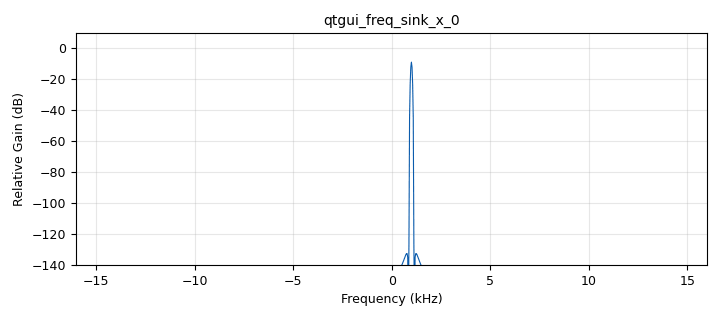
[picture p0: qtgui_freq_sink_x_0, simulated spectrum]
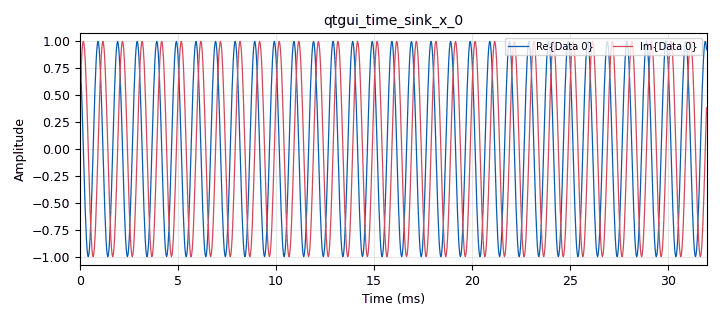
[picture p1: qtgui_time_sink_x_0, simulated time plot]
options:
  parameters:
    author: Oscar Reyes
    generate_options: qt_gui
    id: simple_flowgraph
    output_language: python
    title: Simple flowgraph to test GNU Radio
  states: {}

blocks:
- name: GTX
  id: variable_qtgui_range
  parameters:
    gui_hint: tab_usrp@0:2,0
    label: Tx gain in dB
    start: '0'
    step: '1'
    stop: '88'
    value: '76'
  states: {}
- name: amplitude
  id: variable_qtgui_range
  parameters:
    gui_hint: tab_source@0:1,0
    label: Amplitude
    start: '0'
    step: '0.1'
    stop: '5'
    value: '1'
  states: {}
- name: f_offset
  id: variable_qtgui_range
  parameters:
    gui_hint: tab_channel@0:2,0
    label: Frequency offset in Hz
    start: '0'
    step: '0.1'
    stop: 1e3
    value: '0'
  states: {}
- name: fc
  id: variable_qtgui_range
  parameters:
    gui_hint: tab_usrp@0:1,0
    label: Carrier Frequency in Hz
    start: 8e8
    step: 50e6
    stop: 2e9
    value: 1e9
  states: {}
- name: frequency
  id: variable_qtgui_range
  parameters:
    gui_hint: tab_source@0:2,0
    label: Frequency in Hz
    start: '0'
    step: '100'
    stop: 1e4
    value: 1e3
  states: {}
- name: noise
  id: variable_qtgui_range
  parameters:
    gui_hint: tab_channel@0:1,0
    label: Noise voltage
    start: '0'
    step: '0.1'
    stop: '5'
    value: '0'
  states: {}
- name: offset
  id: variable_qtgui_range
  parameters:
    gui_hint: tab_source@0:1,1
    label: Offset
    start: '-5'
    step: '0.1'
    stop: '5'
    value: '0'
  states: {}
- name: phase
  id: variable_qtgui_range
  parameters:
    gui_hint: tab_source@0:2,1
    label: Phase
    start: '0'
    step: '0.1'
    stop: 2*np.pi
    value: '0'
  states: {}
- name: samp_rate
  id: variable
  parameters:
    value: '32000'
  states: {}
- name: waveform
  id: variable_qtgui_chooser
  parameters:
    gui_hint: tab_source@0:0,0
    label: Waveform
    labels: '["Constant", "Sine", "Cosine", "Square", "Triangle", "Saw Tooth"]'
    num_opts: '0'
    options: '[100, 101, 102, 103, 104, 105]'
    type: raw
    value: '102'
  states: {}
- name: analog_sig_source_x_0
  id: analog_sig_source_x
  parameters:
    amp: amplitude
    freq: frequency
    offset: offset
    phase: phase
    samp_rate: samp_rate
    type: complex
    waveform: waveform
  states: {}
- name: blocks_throttle2_0
  id: blocks_throttle2
  parameters:
    samples_per_second: samp_rate
    type: complex
  states: {}
- name: channels_channel_model_0
  id: channels_channel_model
  parameters:
    epsilon: '1.0'
    freq_offset: f_offset
    noise_voltage: noise
    seed: '0'
    taps: '1.0'
  states: {}
- name: import_1
  id: import
  parameters:
    imports: import numpy as np
  states: {}
- name: qtgui_freq_sink_x_0
  id: qtgui_freq_sink_x
  parameters:
    bw: samp_rate
    fc: '0'
    fftsize: '1024'
    gui_hint: 3,2,6,2
    type: complex
  states: {}
- name: qtgui_time_sink_x_0
  id: qtgui_time_sink_x
  parameters:
    gui_hint: 3,0,6,2
    size: '1024'
    srate: samp_rate
    type: complex
  states: {}
- name: tab_channel
  id: qtgui_tab_widget
  parameters:
    gui_hint: 0,2,3,1
    label0: Channel Controls
    num_tabs: '1'
  states: {}
- name: tab_source
  id: qtgui_tab_widget
  parameters:
    gui_hint: 0,0,3,2
    label0: Source Controls
    num_tabs: '1'
  states: {}
- name: tab_usrp
  id: qtgui_tab_widget
  parameters:
    gui_hint: 0,3,3,1
    label0: USRP Controls
    num_tabs: '1'
  states: {}
- name: uhd_usrp_sink_0_0
  id: uhd_usrp_sink
  parameters:
    ant0: '"TX/RX"'
    center_freq0: fc
    gain0: GTX
    samp_rate: samp_rate
    sync: pc_clock
    type: fc32
  states: {state: disabled}
- name: virtual_sink_0
  id: virtual_sink
  parameters:
    stream_id: source
  states: {}
- name: virtual_sink_0_0
  id: virtual_sink
  parameters:
    stream_id: source
  states: {state: disabled}
- name: virtual_source_0
  id: virtual_source
  parameters:
    stream_id: source
  states: {}

connections:
- [analog_sig_source_x_0, '0', channels_channel_model_0, '0']
- [analog_sig_source_x_0, '0', uhd_usrp_sink_0_0, '0']
- [analog_sig_source_x_0, '0', virtual_sink_0_0, '0']
- [blocks_throttle2_0, '0', virtual_sink_0, '0']
- [channels_channel_model_0, '0', blocks_throttle2_0, '0']
- [virtual_source_0, '0', qtgui_freq_sink_x_0, '0']
- [virtual_source_0, '0', qtgui_time_sink_x_0, '0']

metadata:
  file_format: 1
  grc_version: 3.10.10.0
